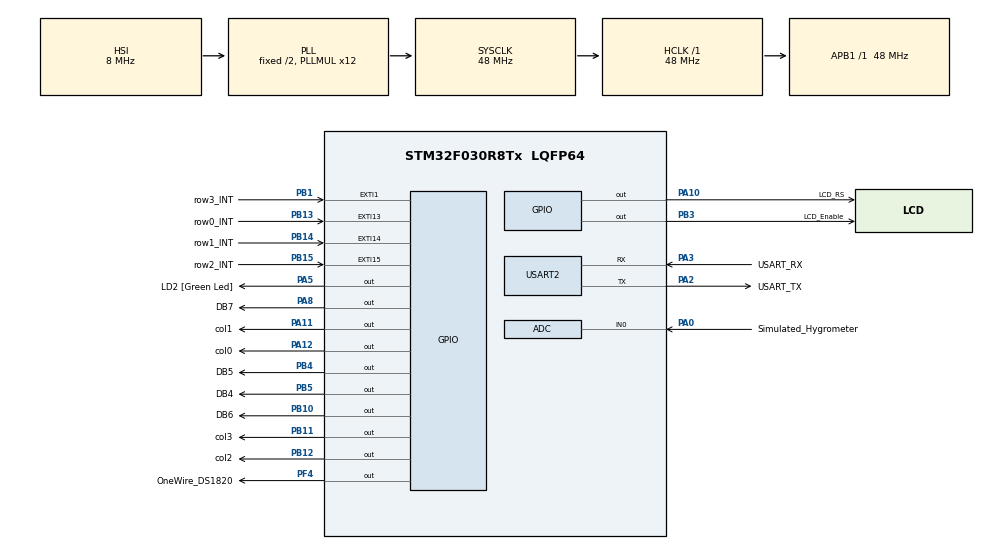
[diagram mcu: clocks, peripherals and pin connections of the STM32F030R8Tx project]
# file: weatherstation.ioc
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Mcu.Family=STM32F0
Mcu.Name=STM32F030R8Tx
Mcu.Package=LQFP64
NVIC.ADC1_IRQn=true\:0\:0\:false\:false\:true\:true\:true
NVIC.EXTI0_1_IRQn=true\:0\:0\:false\:false\:true\:true\:true
NVIC.EXTI4_15_IRQn=true\:0\:0\:false\:false\:true\:true\:true
NVIC.TIM6_IRQn=true\:0\:0\:false\:false\:true\:true\:true
PA0.GPIO_Label=Simulated_Hygrometer
PA0.GPIO_PuPd=GPIO_NOPULL
PA0.Mode=IN0
PA0.Signal=ADC_IN0
PA10.GPIO_Label=LCD_RS
PA10.GPIO_PuPd=GPIO_PULLDOWN
PA10.Signal=GPIO_Output
PA11.GPIO_Label=col1
PA11.Signal=GPIO_Output
PA12.GPIO_Label=col0
PA12.Signal=GPIO_Output
PA13.GPIO_Label=TMS
PA13.Mode=Serial_Wire
PA13.Signal=SYS_SWDIO
PA14.GPIO_Label=TCK
PA14.Mode=Serial_Wire
PA14.Signal=SYS_SWCLK
PA2.GPIO_Label=USART_TX
PA2.GPIO_Mode=GPIO_MODE_AF_PP
PA2.GPIO_PuPd=GPIO_NOPULL
PA2.GPIO_Speed=GPIO_SPEED_FREQ_LOW
PA2.Mode=Asynchronous
PA2.Signal=USART2_TX
PA3.GPIO_Label=USART_RX
PA3.GPIO_Mode=GPIO_MODE_AF_PP
PA3.GPIO_PuPd=GPIO_NOPULL
PA3.GPIO_Speed=GPIO_SPEED_FREQ_LOW
PA3.Mode=Asynchronous
PA3.Signal=USART2_RX
PA5.GPIO_Label=LD2 [Green Led]
PA5.GPIO_Mode=GPIO_MODE_OUTPUT_PP
PA5.GPIO_PuPd=GPIO_NOPULL
PA5.GPIO_Speed=GPIO_SPEED_FREQ_LOW
PA5.Signal=GPIO_Output
PA8.GPIO_Label=DB7
PA8.GPIO_PuPd=GPIO_PULLDOWN
PA8.Signal=GPIO_Output
PB1.GPIO_Label=row3_INT
PB1.GPIO_PuPd=GPIO_PULLDOWN
PB1.Signal=GPXTI1
PB10.GPIO_Label=DB6
PB10.GPIO_PuPd=GPIO_PULLDOWN
PB10.Signal=GPIO_Output
PB11.GPIO_Label=col3
PB11.Signal=GPIO_Output
PB12.GPIO_Label=col2
PB12.Signal=GPIO_Output
PB13.GPIO_Label=row0_INT
PB13.GPIO_PuPd=GPIO_PULLDOWN
PB13.Signal=GPXTI13
PB14.GPIO_Label=row1_INT
PB14.GPIO_PuPd=GPIO_PULLDOWN
PB14.Signal=GPXTI14
PB15.GPIO_Label=row2_INT
PB15.GPIO_PuPd=GPIO_PULLDOWN
PB15.Signal=GPXTI15
PB3.GPIO_Label=LCD_Enable
PB3.GPIO_PuPd=GPIO_PULLDOWN
PB3.Signal=GPIO_Output
PB4.GPIO_Label=DB5
PB4.GPIO_PuPd=GPIO_PULLDOWN
PB4.Signal=GPIO_Output
PB5.GPIO_Label=DB4
PB5.GPIO_PuPd=GPIO_PULLDOWN
PB5.Signal=GPIO_Output
PC14-OSC32_IN.Mode=LSE-External-Oscillator
PC14-OSC32_IN.Signal=RCC_OSC32_IN
PC15-OSC32_OUT.Mode=LSE-External-Oscillator
PC15-OSC32_OUT.Signal=RCC_OSC32_OUT
PF0-OSC_IN.Mode=HSE-External-Clock-Source
PF0-OSC_IN.Signal=RCC_OSC_IN
PF1-OSC_OUT.Signal=RCC_OSC_OUT
PF4.GPIO_Label=OneWire_DS1820
PF4.GPIO_ModeDefaultOutputPP=GPIO_MODE_OUTPUT_OD
PF4.GPIO_Speed=GPIO_SPEED_FREQ_HIGH
PF4.Signal=GPIO_Output
ProjectManager.HeapSize=0x200
ProjectManager.StackSize=0x400
ProjectManager.TargetToolchain=SW4STM32
RCC.AHBFreq_Value=48000000
RCC.APB1Freq_Value=48000000
RCC.APB1TimFreq_Value=48000000
RCC.HCLKFreq_Value=48000000
RCC.PLLMUL=RCC_PLL_MUL12
RCC.RTCClockSelection=RCC_RTCCLKSOURCE_LSE
RCC.SYSCLKFreq_VALUE=48000000
RCC.SYSCLKSource=RCC_SYSCLKSOURCE_PLLCLK
RTC.AsynchPrediv=127
RTC.SynchPrediv=255
TIM6.AutoReloadPreload=TIM_AUTORELOAD_PRELOAD_ENABLE
TIM6.Period=625
TIM6.Prescaler=479
USART2.VirtualMode-Asynchronous=VM_ASYNC
VP_RTC_VS_RTC_Activate.Mode=RTC_Enabled
VP_RTC_VS_RTC_Calendar.Mode=RTC_Calendar
VP_TIM6_VS_ClockSourceINT.Mode=Enable_Timer
board=NUCLEO-F030R8

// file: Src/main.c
/* USER CODE BEGIN Header */
/**
  ******************************************************************************
  * @file           : main.c
  * @brief          : Main program body
  ******************************************************************************
  * @attention
  *
  * <h2><center>&copy; Copyright (c) 2019 STMicroelectronics.
  * All rights reserved.</center></h2>
  *
  * This software component is licensed by ST under BSD 3-Clause license,
  * the "License"; You may not use this file except in compliance with the
  * License. You may obtain a copy of the License at:
  *                        opensource.org/licenses/BSD-3-Clause
  *
  ******************************************************************************
  */
/* USER CODE END Header */

#include "main.h"

/* USER CODE BEGIN Includes */
#include "onewire_DS1820.h"		// Onewire library for DS1820
#include "LCD_2x16.h"			// library for the display
/* USER CODE END Includes */

/* USER CODE BEGIN PD */
/*
 * Defines that configure the delays between tasks.
 */
#define READYTOCALLFUNC 	80	// TOCALLFUNC * 6,25ms =  time between outputs
#define DISPLAYUPDATE 		80	// DISPLAYUPDATE * 6,25ms = time between display updates
#define MEASUREMENT			80  // MEASUREMENT * 6,25ms = time between measurements
#define TOOGLEMODE			800 // TOOGLEMODE * 6,25ms = time between alternations in view mode toggle

/* USER CODE END PD */

ADC_HandleTypeDef hadc;

RTC_HandleTypeDef hrtc;

TIM_HandleTypeDef htim6;

UART_HandleTypeDef huart2;

/* USER CODE BEGIN PV */
/*
 * Arrays to iterate and choose port and pin from to toggle depending on colCounter
 * for multiplexing in 4x4 keypad.
 */
uint16_t GPIO_PINS[4] = {col0_Pin, col1_Pin, col2_Pin, col3_Pin};
GPIO_TypeDef* GPIO_PORTS[4] = {col0_GPIO_Port, col1_GPIO_Port, col2_GPIO_Port, col3_GPIO_Port};

/*
 * colCounter is used to track the currently active column on 4x4 keypad.
 */
uint16_t colCounter = 0;

/*
 * Used to determine if in next step of multiplexing, column pin has to be set or reset.
 */
uint16_t current_Port_active = FALSE;

/*
 * Declaration of functionpointer to be called, when call_counter reached READYTOCALLFUNC
 * And default function pointer to reset after function was called.
 */
void (*func_to_call_next_ptr)();
void (*default_func_ptr)();

/*
 * Counter which are incremented by main timer to implemented different delays for different tasks.
 * When a timer reached it's corresponding threshold given by defines. A flag is set.
 */
uint16_t call_counter = 0;							// used for function call, selected by keypad
uint16_t display_counter = 0;						// used for display updates
uint16_t measurement_counter = 0;					// used for measurements
uint16_t toggle_view_mode_counter = 0;				// used to change view in toggle view mode

/*
 * Flags used in main loop to handle tasks when a specific delay for each operation is reached.
 * If flag is TRUE, operation is executed in current iteration.
 * Initialized for correct starting behaviour.
 * 	- call_func = FALSE					no key was pressed yet
 * 	- update_display = TRUE 			update display so initial Time_conf mode is displayed
 * 	- update_measurement = TRUE			get first measurment
 * 	- change_toggle_view_mode = TRUE 	start toggling view mode when toggle view mode is selected
 * 	- ready_to_calc_humidity = FALSE	no value received from adc yet
 */
uint8_t call_func = FALSE;
uint8_t update_display = TRUE;
uint8_t update_measurment = TRUE;
uint8_t change_toggle_view_mode = TRUE;
uint8_t ready_to_calc_humidity = FALSE;

/*
 * Flag used to prevent time updates while the Time_conf mode is displayed.
 * Time has to be configured after start, so time is stopped at first
*/
uint8_t time_stopped = TRUE;

/*
 * Current view mode, to tell the display how to prepare given data and display it.
 * Starts in Time_conf mode to configure the current time.
 * While in Time_conf mode the displays cursor is in 3 out of 4 possible selected
 * positions blinking. current_selected tells the display which position is being modified now.
 * After start shows cursor over hours.
 */
enum View_mode current_mode = Time_conf;
enum Time_frac_selected current_selected = hours_sel;

/*
 * Structs which are updated by RTC and hold currently set time and date.
 */
RTC_DateTypeDef gDate = {0};
RTC_TimeTypeDef gTime = {0};;

/*
 * Stores the current read and calculated temperature to be displayed.
 * Initially has 0, as no measurment value.
 */
int16_t current_temperature = 0;

/*
 * Stores for humidity value received by ADC in humidity_uncalculated.
 * humidity_calculated stores the percentage after calculations.
 */
uint32_t humidity_uncalculated = 0;
uint16_t humidity_calculated = 0;
/* USER CODE END PV */

void SystemClock_Config(void);
static void MX_GPIO_Init(void);
static void MX_TIM6_Init(void);
static void MX_RTC_Init(void);
static void MX_ADC_Init(void);
static void MX_USART2_UART_Init(void);
/* USER CODE BEGIN PFP */
void get_time();
void select_next_time_frac();
void select_previous_time_frac();
void inc_currently_selected();
void dec_currently_selected();
void next_view_mode();
void time_conf_mode();
void nop();
void change_timeformat();
void exit_time_conf();
uint16_t calculateHumidity(uint32_t uncalc_value);
/* USER CODE END PFP */

/* USER CODE BEGIN 0 */
/**
 * @brief Updates values of gTime and gDate. For handling the time displayed.
 * @param None
 * @retval None
 */
void get_time(void) {
	if(!time_stopped) {									// only update when time is not stopped
	  HAL_RTC_GetTime(&hrtc, &gTime, RTC_FORMAT_BIN);	// updates time value in struct gTime
	  HAL_RTC_GetDate(&hrtc, &gDate, RTC_FORMAT_BIN);	// necessary, otherwise time won't get updated
	}
}

/**
 * @brief Changes to display output to next view mode.
 * @param None
 * @retval None
 */
void next_view_mode(void) {
	if (current_mode == Time_conf) exit_time_conf();
	else current_mode = (current_mode+1) % Time_conf;	// Time_conf isn't accessible via next_mode
}

/**
 * @brief Stops the time updates, enters Time_conf view mode and sets the cursor
 * 		  to select hours.
 * @param None
 * @retval None
 */
void time_conf_mode(void) {
	time_stopped = TRUE;
	current_mode = Time_conf;
	current_selected = hours_sel;
}

/**
 * @brief Reenables time updates, sets the RTC time, disables the cursor and
 * 		  changes view mode to Time_and_temp. Only possible when in Time_conf mode.
 * @param None
 * @retval None
 */
void exit_time_conf(void) {
	if (current_mode == Time_conf) {
		time_stopped = FALSE;
		HAL_RTC_SetTime(&hrtc, &gTime, RTC_FORMAT_BIN);
		current_selected = None_sel;
		current_mode = Time_and_Temp;			// start in first view mode afterwards
	}
}

/**
 * @brief Toggles the clocks time format from 24h to 12h or vice versa.
 * 		  While changing from 24h to 12h format does not take AM and PM into account.
 * 		  Expects to convert to PM.
 * 		  Time has to be configured manually, if current time is AM.
 * @param None
 * @retval None
 */
void change_timeformat(void) {
	  if (hrtc.Init.HourFormat == RTC_HOURFORMAT_24) {
		  hrtc.Init.HourFormat = RTC_HOURFORMAT_12;
		  gTime.Hours = gTime.Hours % 12;
	  } else {
		  hrtc.Init.HourFormat = RTC_HOURFORMAT_24;
		  gTime.Hours = gTime.Hours + 12;
	  }
	  HAL_RTC_SetTime(&hrtc, &gTime, RTC_FORMAT_BIN);
	  HAL_RTC_Init(&hrtc);
}

/**
 * @brief While in Time_conf mode, cursor is set to position which is selected for changing.
 * 		  This function moves the cursor to the right, starting at hours if seconds was selected.
 * @param None
 * @retval None
 */
void select_next_time_frac(void) {
	if (current_mode == Time_conf) {
		current_selected = (current_selected+1) % (None_sel);
	}
}

/**
 * @brief While in Time_conf mode, cursor is set to position which is selected for changing.
 * 		  This function moves the cursor to the left, starting at seconds if hours was selected.
 * @param None
 * @retval None
 */
void select_previous_time_frac(void) {
	if (current_mode == Time_conf) {
		if (current_selected == 0) current_selected = secs_sel;
		else current_selected = (current_selected-1) % (None_sel);
	}
}

/**
 * @brief While in Time_conf mode, cursor is set to position which is selected for changing.
 * 		  Increases the currently selected position by 1 hour/minute/second. Also prevents
 * 		  incorrect values from being set. Updates display after each change.
 * @param None
 * @retval None
 */
void inc_currently_selected(void) {
	switch (current_selected) {
	case hours_sel: {
		if (hrtc.Init.HourFormat == RTC_HOURFORMAT_24) 	gTime.Hours = (gTime.Hours + 1) % 24;

		else gTime.Hours = (gTime.Hours + 1) % 12;
		break;
	}
	case mins_sel: {
		gTime.Minutes = (gTime.Minutes + 1) % 60;
		break;
	}
	case secs_sel: {
		gTime.Seconds = (gTime.Hours + 1) % 60;
		break;
	}
	case None_sel: {
		break;
	}
	write_to_display(humidity_calculated, current_temperature, gTime, current_mode, current_selected, change_toggle_view_mode);
	}
}

/**
 * @brief While in Time_conf mode, cursor is set to position which is selected for changing.
 * 		  Decreases the currently selected position by 1 hour/minute/second. Also prevents
 * 		  incorrect values from being set. Updates display after each change.
 * @param None
 * @retval None
 */
void dec_currently_selected(void) {
	switch (current_selected) {
	case hours_sel: {
		if (hrtc.Init.HourFormat == RTC_HOURFORMAT_24) {
			if (gTime.Hours == 0) gTime.Hours = 23;
			else gTime.Hours--;
		}
		else {
			if (gTime.Hours == 0) gTime.Hours = 11;
			else gTime.Hours--;;
		}
		break;
	}
	case mins_sel: {
		if (gTime.Minutes == 0) gTime.Minutes = 59;
		else gTime.Minutes--;
		break;
	}
	case secs_sel: {
		if (gTime.Seconds == 0) gTime.Seconds = 59;
		gTime.Seconds--;
		break;
	}
	case None_sel: {
		break;
	}
	write_to_display(humidity_calculated, current_temperature, gTime, current_mode, current_selected, change_toggle_view_mode);
	}
}

/**
 * @brief Dummy function which is called as default function if no button has been
 * 		  pressed during the last period.
 * @param None
 * @retval None
 */
void nop(void) {
}

/*
 * Array which represents the keypad button assignment. Functions map 1 to 1 to keypad.
 * E.g. 1 = nop, 2 = inc_currently_selected, 3 = nop, 4 = next_view_mode	and so on.
 * ________________
 * | 1	2	3	A |
 * | 4	5	6	B |
 * | 7	8	9	C |
 * | *	0	#	D |
 * ________________
 */
void (*funcs[4][4])(void) = {
		{nop,			 			inc_currently_selected,		nop,					next_view_mode},
		{select_previous_time_frac,	exit_time_conf,				select_next_time_frac, 	nop},
		{nop,			 			dec_currently_selected,		nop,         			time_conf_mode},
		{nop,			 			nop,			   			nop,  					change_timeformat}
};

/**
  * @brief Function used to calculate humidity dependent on the measured voltage at the potentiometer.
  * @param uint32_t uncalculated value from ADC.
  * @retval uint16_t the calculated humidity.
  */
uint16_t calculateHumidity(uint32_t uncalc_value) {
	return (100 * uncalc_value) >> 12;
}

/* USER CODE END 0 */

int main(void)
{

  /* MCU Configuration--------------------------------------------------------*/

  /* Reset of all peripherals, Initializes the Flash interface and the Systick. */
  HAL_Init();

  /* Configure the system clock */
  SystemClock_Config();

  /* Initialize all configured peripherals */
  MX_GPIO_Init();
  MX_TIM6_Init();
  MX_RTC_Init();
  MX_ADC_Init();
  MX_USART2_UART_Init();
  /* USER CODE BEGIN 2 */
  /* Start main timer */
  HAL_TIM_Base_Start_IT(&htim6);
  /* Initialize the display */
  init_display();
  /* Set default function to dummy */
  default_func_ptr = nop;
  /* No button was pressed initally. Set next function call to nop */
  func_to_call_next_ptr = default_func_ptr;
  /* Start ADC in Interrupt mode to get first measurment */
  HAL_ADC_Start_IT(&hadc);
  /* USER CODE END 2 */

  /* Infinite loop */
  /* USER CODE BEGIN WHILE */
  while (1)
  {
	  /* Delay for next function call ended, flag was set */
	  if (call_func) {
		  	(*func_to_call_next_ptr)();					// call function currently selected
		  	func_to_call_next_ptr = default_func_ptr;	// reset pointer to default_func_ptr (nop)
		  	call_func = FALSE;							// reset flag
	  	}
	  /* Delay for next measurement update ended, flag was set */
	  if (update_measurment) {
		  HAL_ADC_Start_IT(&hadc);						// Start ADC measurement in Interrupt mode
		  current_temperature = get_temperature();		// Get temperature reading from DS1820
		  update_measurment = FALSE;					// reset flag
	  }
	  /* ADC measurement ended, flag was set by ADC interrupt, percentage value may be calculated */
	  if (ready_to_calc_humidity) {
		  humidity_calculated = calculateHumidity(humidity_uncalculated);	// calculate percentage
		  ready_to_calc_humidity = FALSE;									// reset flag
	  }
	  /* Display update period ended, flag was set */
	  if (update_display) {
		  get_time();									// update the time
		  write_to_display(humidity_calculated,			// send to display, percentage humidity
				  current_temperature,					// current temperature
				  gTime,								// struct that contains current time
				  current_mode,							// current display mode
				  current_selected,						// if Time_conf mode, selected time fraction
				  change_toggle_view_mode);				// if Toggle mode
		  update_display = FALSE;						// reset flag
	  }

    /* USER CODE END WHILE */

  }
}

void SystemClock_Config(void)
{
  RCC_OscInitTypeDef RCC_OscInitStruct = {0};
  RCC_ClkInitTypeDef RCC_ClkInitStruct = {0};
  RCC_PeriphCLKInitTypeDef PeriphClkInit = {0};

  /** Configure LSE Drive Capability
  */
  HAL_PWR_EnableBkUpAccess();
  __HAL_RCC_LSEDRIVE_CONFIG(RCC_LSEDRIVE_HIGH);
  /** Initializes the CPU, AHB and APB busses clocks
  */
  RCC_OscInitStruct.OscillatorType = RCC_OSCILLATORTYPE_HSI|RCC_OSCILLATORTYPE_HSI14
                              |RCC_OSCILLATORTYPE_LSE;
  RCC_OscInitStruct.LSEState = RCC_LSE_ON;
  RCC_OscInitStruct.HSIState = RCC_HSI_ON;
  RCC_OscInitStruct.HSI14State = RCC_HSI14_ON;
  RCC_OscInitStruct.HSICalibrationValue = RCC_HSICALIBRATION_DEFAULT;
  RCC_OscInitStruct.HSI14CalibrationValue = 16;
  RCC_OscInitStruct.PLL.PLLState = RCC_PLL_ON;
  RCC_OscInitStruct.PLL.PLLSource = RCC_PLLSOURCE_HSI;
  RCC_OscInitStruct.PLL.PLLMUL = RCC_PLL_MUL12;
  RCC_OscInitStruct.PLL.PREDIV = RCC_PREDIV_DIV1;
  if (HAL_RCC_OscConfig(&RCC_OscInitStruct) != HAL_OK)
  {
    Error_Handler();
  }
  /** Initializes the CPU, AHB and APB busses clocks
  */
  RCC_ClkInitStruct.ClockType = RCC_CLOCKTYPE_HCLK|RCC_CLOCKTYPE_SYSCLK
                              |RCC_CLOCKTYPE_PCLK1;
  RCC_ClkInitStruct.SYSCLKSource = RCC_SYSCLKSOURCE_PLLCLK;
  RCC_ClkInitStruct.AHBCLKDivider = RCC_SYSCLK_DIV1;
  RCC_ClkInitStruct.APB1CLKDivider = RCC_HCLK_DIV1;

  if (HAL_RCC_ClockConfig(&RCC_ClkInitStruct, FLASH_LATENCY_1) != HAL_OK)
  {
    Error_Handler();
  }
  PeriphClkInit.PeriphClockSelection = RCC_PERIPHCLK_RTC;
  PeriphClkInit.RTCClockSelection = RCC_RTCCLKSOURCE_LSE;
  if (HAL_RCCEx_PeriphCLKConfig(&PeriphClkInit) != HAL_OK)
  {
    Error_Handler();
  }
}

static void MX_ADC_Init(void)
{

  ADC_ChannelConfTypeDef sConfig = {0};

  /** Configure the global features of the ADC (Clock, Resolution, Data Alignment and number of conversion)
  */
  hadc.Instance = ADC1;
  hadc.Init.ClockPrescaler = ADC_CLOCK_ASYNC_DIV1;
  hadc.Init.Resolution = ADC_RESOLUTION_12B;
  hadc.Init.DataAlign = ADC_DATAALIGN_RIGHT;
  hadc.Init.ScanConvMode = ADC_SCAN_DIRECTION_FORWARD;
  hadc.Init.EOCSelection = ADC_EOC_SINGLE_CONV;
  hadc.Init.LowPowerAutoWait = DISABLE;
  hadc.Init.LowPowerAutoPowerOff = DISABLE;
  hadc.Init.ContinuousConvMode = DISABLE;
  hadc.Init.DiscontinuousConvMode = DISABLE;
  hadc.Init.ExternalTrigConv = ADC_SOFTWARE_START;
  hadc.Init.ExternalTrigConvEdge = ADC_EXTERNALTRIGCONVEDGE_NONE;
  hadc.Init.DMAContinuousRequests = DISABLE;
  hadc.Init.Overrun = ADC_OVR_DATA_PRESERVED;
  if (HAL_ADC_Init(&hadc) != HAL_OK)
  {
    Error_Handler();
  }
  /** Configure for the selected ADC regular channel to be converted.
  */
  sConfig.Channel = ADC_CHANNEL_0;
  sConfig.Rank = ADC_RANK_CHANNEL_NUMBER;
  sConfig.SamplingTime = ADC_SAMPLETIME_1CYCLE_5;
  if (HAL_ADC_ConfigChannel(&hadc, &sConfig) != HAL_OK)
  {
    Error_Handler();
  }

}

static void MX_RTC_Init(void)
{

  RTC_TimeTypeDef sTime = {0};
  RTC_DateTypeDef sDate = {0};

  /** Initialize RTC Only
  */
  hrtc.Instance = RTC;
  hrtc.Init.HourFormat = RTC_HOURFORMAT_24;
  hrtc.Init.AsynchPrediv = 127;
  hrtc.Init.SynchPrediv = 255;
  hrtc.Init.OutPut = RTC_OUTPUT_DISABLE;
  hrtc.Init.OutPutPolarity = RTC_OUTPUT_POLARITY_HIGH;
  hrtc.Init.OutPutType = RTC_OUTPUT_TYPE_OPENDRAIN;
  if (HAL_RTC_Init(&hrtc) != HAL_OK)
  {
    Error_Handler();
  }

  /** Initialize RTC and set the Time and Date
  */
  sTime.Hours = 0x0;
  sTime.Minutes = 0x0;
  sTime.Seconds = 0x0;
  sTime.DayLightSaving = RTC_DAYLIGHTSAVING_NONE;
  sTime.StoreOperation = RTC_STOREOPERATION_RESET;
  if (HAL_RTC_SetTime(&hrtc, &sTime, RTC_FORMAT_BCD) != HAL_OK)
  {
    Error_Handler();
  }
  sDate.WeekDay = RTC_WEEKDAY_MONDAY;
  sDate.Month = RTC_MONTH_JANUARY;
  sDate.Date = 0x1;
  sDate.Year = 0x0;

  if (HAL_RTC_SetDate(&hrtc, &sDate, RTC_FORMAT_BCD) != HAL_OK)
  {
    Error_Handler();
  }

}

static void MX_TIM6_Init(void)
{

  htim6.Instance = TIM6;
  htim6.Init.Prescaler = 479;
  htim6.Init.CounterMode = TIM_COUNTERMODE_UP;
  htim6.Init.Period = 625;
  htim6.Init.AutoReloadPreload = TIM_AUTORELOAD_PRELOAD_ENABLE;
  if (HAL_TIM_Base_Init(&htim6) != HAL_OK)
  {
    Error_Handler();
  }

}

static void MX_USART2_UART_Init(void)
{

  huart2.Instance = USART2;
  huart2.Init.BaudRate = 38400;
  huart2.Init.WordLength = UART_WORDLENGTH_8B;
  huart2.Init.StopBits = UART_STOPBITS_1;
  huart2.Init.Parity = UART_PARITY_NONE;
  huart2.Init.Mode = UART_MODE_TX_RX;
  huart2.Init.HwFlowCtl = UART_HWCONTROL_NONE;
  huart2.Init.OverSampling = UART_OVERSAMPLING_16;
  huart2.Init.OneBitSampling = UART_ONE_BIT_SAMPLE_DISABLE;
  huart2.AdvancedInit.AdvFeatureInit = UART_ADVFEATURE_NO_INIT;
  if (HAL_UART_Init(&huart2) != HAL_OK)
  {	  /* ADC measurement ended, flag was set by ADC interrupt, percentage value may be calculated */
    Error_Handler();
  }

}

static void MX_GPIO_Init(void)
{
  GPIO_InitTypeDef GPIO_InitStruct = {0};

  /* GPIO Ports Clock Enable */
  __HAL_RCC_GPIOC_CLK_ENABLE();
  __HAL_RCC_GPIOF_CLK_ENABLE();
  __HAL_RCC_GPIOA_CLK_ENABLE();
  __HAL_RCC_GPIOB_CLK_ENABLE();

  /*Configure GPIO pin Output Level */
  HAL_GPIO_WritePin(OneWire_DS1820_GPIO_Port, OneWire_DS1820_Pin, GPIO_PIN_RESET);

  /*Configure GPIO pin Output Level */
  HAL_GPIO_WritePin(GPIOA, LD2_Pin|DB7_Pin|LCD_RS_Pin|col1_Pin
                          |col0_Pin, GPIO_PIN_RESET);

  /*Configure GPIO pin Output Level */
  HAL_GPIO_WritePin(GPIOB, DB6_Pin|col3_Pin|col2_Pin|LCD_Enable_Pin
                          |DB5_Pin|DB4_Pin, GPIO_PIN_RESET);

  /*Configure GPIO pin : OneWire_DS1820_Pin */
  GPIO_InitStruct.Pin = OneWire_DS1820_Pin;
  GPIO_InitStruct.Mode = GPIO_MODE_OUTPUT_OD;
  GPIO_InitStruct.Pull = GPIO_NOPULL;
  GPIO_InitStruct.Speed = GPIO_SPEED_FREQ_HIGH;
  HAL_GPIO_Init(OneWire_DS1820_GPIO_Port, &GPIO_InitStruct);

  /*Configure GPIO pins : LD2_Pin col1_Pin col0_Pin */
  GPIO_InitStruct.Pin = LD2_Pin|col1_Pin|col0_Pin;
  GPIO_InitStruct.Mode = GPIO_MODE_OUTPUT_PP;
  GPIO_InitStruct.Pull = GPIO_NOPULL;
  GPIO_InitStruct.Speed = GPIO_SPEED_FREQ_LOW;
  HAL_GPIO_Init(GPIOA, &GPIO_InitStruct);

  /*Configure GPIO pins : row3_INT_Pin row0_INT_Pin row1_INT_Pin row2_INT_Pin */
  GPIO_InitStruct.Pin = row3_INT_Pin|row0_INT_Pin|row1_INT_Pin|row2_INT_Pin;
  GPIO_InitStruct.Mode = GPIO_MODE_IT_RISING;
  GPIO_InitStruct.Pull = GPIO_PULLDOWN;
  HAL_GPIO_Init(GPIOB, &GPIO_InitStruct);

  /*Configure GPIO pins : DB6_Pin LCD_Enable_Pin DB5_Pin DB4_Pin */
  GPIO_InitStruct.Pin = DB6_Pin|LCD_Enable_Pin|DB5_Pin|DB4_Pin;
  GPIO_InitStruct.Mode = GPIO_MODE_OUTPUT_PP;
  GPIO_InitStruct.Pull = GPIO_PULLDOWN;
  GPIO_InitStruct.Speed = GPIO_SPEED_FREQ_LOW;
  HAL_GPIO_Init(GPIOB, &GPIO_InitStruct);

  /*Configure GPIO pins : col3_Pin col2_Pin */
  GPIO_InitStruct.Pin = col3_Pin|col2_Pin;
  GPIO_InitStruct.Mode = GPIO_MODE_OUTPUT_PP;
  GPIO_InitStruct.Pull = GPIO_NOPULL;
  GPIO_InitStruct.Speed = GPIO_SPEED_FREQ_LOW;
  HAL_GPIO_Init(GPIOB, &GPIO_InitStruct);

  /*Configure GPIO pins : DB7_Pin LCD_RS_Pin */
  GPIO_InitStruct.Pin = DB7_Pin|LCD_RS_Pin;
  GPIO_InitStruct.Mode = GPIO_MODE_OUTPUT_PP;
  GPIO_InitStruct.Pull = GPIO_PULLDOWN;
  GPIO_InitStruct.Speed = GPIO_SPEED_FREQ_LOW;
  HAL_GPIO_Init(GPIOA, &GPIO_InitStruct);

  /* EXTI interrupt init*/
  HAL_NVIC_SetPriority(EXTI0_1_IRQn, 0, 0);
  HAL_NVIC_EnableIRQ(EXTI0_1_IRQn);

  HAL_NVIC_SetPriority(EXTI4_15_IRQn, 0, 0);
  HAL_NVIC_EnableIRQ(EXTI4_15_IRQn);

}

/* USER CODE BEGIN 4 */
/**
 * @brief EXTI line detection callbacks.
 * @param GPIO_PIN: Specifies the pins connected EXTI line
 * @retval None
 */
void HAL_GPIO_EXTI_Callback(uint16_t GPIO_Pin) {
	switch(GPIO_Pin) {
		case row0_INT_Pin: {
			func_to_call_next_ptr = funcs[0][colCounter];
			} break;
		case row1_INT_Pin: {
			func_to_call_next_ptr = funcs[1][colCounter];
			} break;
		case row2_INT_Pin: {
			func_to_call_next_ptr = funcs[2][colCounter];
			} break;
		case row3_INT_Pin: {
			func_to_call_next_ptr = funcs[3][colCounter];
		} break;
	}
}

/**
 * @brief TIM Period Elapsed Callback handler.
 * @param *htim: Timer interrupt source
 * @retval None
 */
void HAL_TIM_PeriodElapsedCallback(TIM_HandleTypeDef *htim) {
	if (htim == &htim6) {
		/* Setting flags for next main loop iteration and reset counter */
		if (call_counter == READYTOCALLFUNC) {
			call_func = TRUE;
			call_counter = 0;
		}
		if (display_counter == DISPLAYUPDATE) {
			update_display = TRUE;
			display_counter = 0;
		}
		if (measurement_counter == MEASUREMENT) {
			update_measurment = TRUE;
			measurement_counter = 0;
		}
		if (toggle_view_mode_counter == TOOGLEMODE) {
			if (change_toggle_view_mode == TRUE) {
				change_toggle_view_mode = FALSE;
			} else {
				change_toggle_view_mode = TRUE;
			}
			toggle_view_mode_counter = 0;
		}
		/* Increment all counter */
		call_counter++;
		display_counter++;
		measurement_counter++;
		toggle_view_mode_counter++;
		/* Toggle Pin for multiplexing */
		HAL_GPIO_TogglePin(GPIO_PORTS[colCounter], GPIO_PINS[colCounter]);
		if (current_Port_active) {
			current_Port_active = FALSE;
			colCounter = (colCounter + 1) % 4;
		} else {
			current_Port_active = TRUE;
		}

	}
}

/**
 * @brief Handler for ADC conversion complete callback.
 * @param *hadc: ADC interrupt source
 * @retval None
 */
void HAL_ADC_ConvCpltCallback(ADC_HandleTypeDef* hadc) {
	/* Store value in global */
	humidity_uncalculated = HAL_ADC_GetValue(hadc);
	/* Set flag, so percentage is calculated in next main loop iteration */
	ready_to_calc_humidity = TRUE;
}

/* USER CODE END 4 */

void Error_Handler(void)
{
}

/************************ (C) COPYRIGHT STMicroelectronics *****END OF FILE****/
